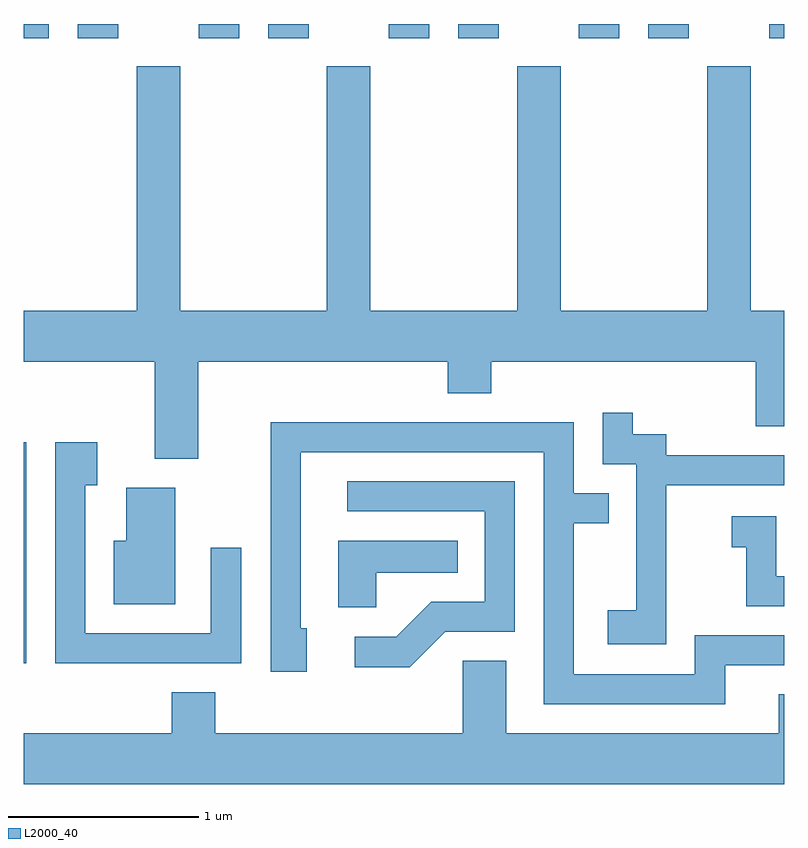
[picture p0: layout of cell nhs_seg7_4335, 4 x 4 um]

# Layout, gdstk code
import gdstk
lib = gdstk.Library(unit=1e-6, precision=1e-09)
def R(c, l, rs):  # rectangles x0, y0, x1, y1
    for r in rs: c.add(gdstk.rectangle(r[:2], r[2:], *l))
def P(c, l, *ps):  # polygons
    for p in ps: c.add(gdstk.Polygon(p, *l))
L2000_40 = (2000, 40)

nhs_seg7_4335 = lib.new_cell('nhs_seg7_4335')
R(nhs_seg7_4335, L2000_40, [(317.611,1774.891,317.624,1776.054), (317.611,1778.176,317.744,1778.252), (317.896,1778.176,318.109,1778.252), (318.531,1778.176,318.744,1778.252), (318.896,1778.176,319.109,1778.252), (319.531,1778.176,319.744,1778.252), (319.896,1778.176,320.109,1778.252), (320.531,1778.176,320.744,1778.252), (320.896,1778.176,321.109,1778.252), (321.531,1778.176,321.611,1778.252)])
P(nhs_seg7_4335, L2000_40, [(318.529,1776.476),(319.841,1776.476),(319.841,1776.311),(320.069,1776.311),(320.069,1776.476),(321.461,1776.476),(321.461,1776.136),(321.611,1776.136),(321.611,1776.744),(321.434,1776.744),(321.434,1778.029),(321.206,1778.029),(321.206,1776.744),(320.434,1776.744),(320.434,1778.029),(320.206,1778.029),(320.206,1776.744),(319.434,1776.744),(319.434,1778.029),(319.206,1778.029),(319.206,1776.744),(318.434,1776.744),(318.434,1778.029),(318.206,1778.029),(318.206,1776.744),(317.611,1776.744),(317.611,1776.476),(318.301,1776.476),(318.301,1775.966),(318.529,1775.966)],
  [(320.989,1775.826),(321.611,1775.826),(321.611,1775.984),(320.989,1775.984),(320.989,1776.094),(320.814,1776.094),(320.814,1776.208),(320.656,1776.208),(320.656,1775.936),(320.831,1775.936),(320.831,1775.169),(320.681,1775.169),(320.681,1774.991),(320.989,1774.991)],
  [(321.299,1774.881),(321.611,1774.881),(321.611,1775.039),(321.141,1775.039),(321.141,1774.834),(320.504,1774.834),(320.504,1775.626),(320.688,1775.626),(320.688,1775.784),(320.504,1775.784),(320.504,1776.159),(318.911,1776.159),(318.911,1774.846),(319.099,1774.846),(319.099,1775.074),(319.069,1775.074),(319.069,1776.001),(320.346,1776.001),(320.346,1774.676),(321.299,1774.676)],
  [(318.754,1775.498),(318.596,1775.498),(318.596,1775.049),(317.934,1775.049),(317.934,1775.826),(317.999,1775.826),(317.999,1776.054),(317.776,1776.054),(317.776,1774.891),(318.754,1774.891)],
  [(319.827,1775.056),(320.194,1775.056),(320.194,1775.849),(319.313,1775.849),(319.313,1775.691),(320.036,1775.691),(320.036,1775.214),(319.754,1775.214),(319.569,1775.029),(319.353,1775.029),(319.353,1774.871),(319.642,1774.871)],
  [(318.409,1775.814),(318.151,1775.814),(318.151,1775.534),(318.086,1775.534),(318.086,1775.201),(318.409,1775.201)],
  [(321.611,1775.349),(321.569,1775.349),(321.569,1775.664),(321.333,1775.664),(321.333,1775.501),(321.411,1775.501),(321.411,1775.191),(321.611,1775.191)],
  [(319.464,1775.366),(319.893,1775.366),(319.893,1775.534),(319.266,1775.534),(319.266,1775.186),(319.464,1775.186)],
  [(321.611,1774.729),(321.581,1774.729),(321.581,1774.524),(320.149,1774.524),(320.149,1774.904),(319.921,1774.904),(319.921,1774.524),(318.619,1774.524),(318.619,1774.739),(318.391,1774.739),(318.391,1774.524),(317.611,1774.524),(317.611,1774.256),(321.611,1774.256)])

lib.write_gds('nhs_seg7_4335.gds')
